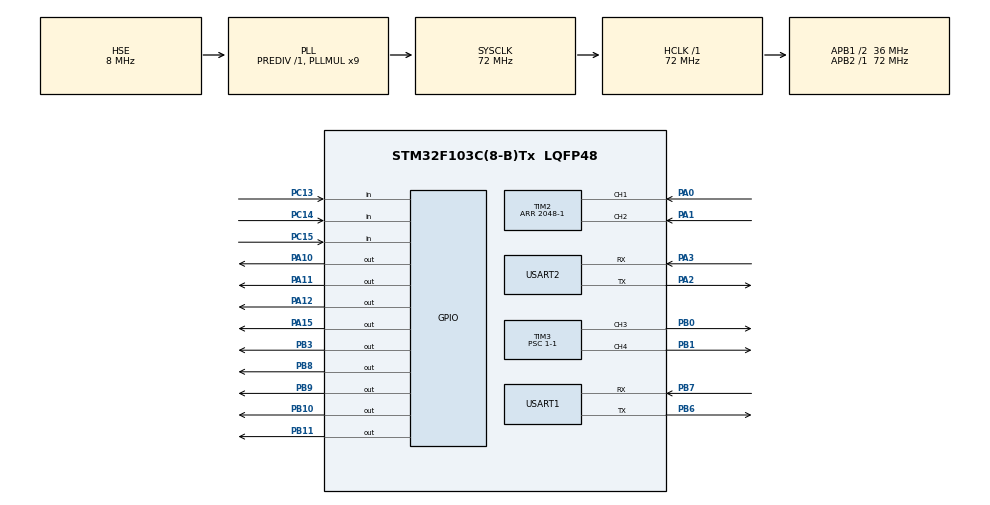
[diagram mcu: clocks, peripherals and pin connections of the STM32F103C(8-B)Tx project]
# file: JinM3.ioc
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Mcu.Family=STM32F1
Mcu.Name=STM32F103C(8-B)Tx
Mcu.Package=LQFP48
NVIC.PriorityGroup=NVIC_PRIORITYGROUP_4
NVIC.TIM3_IRQn=true\:0\:0\:false\:false\:true\:true
NVIC.TIM4_IRQn=true\:0\:0\:false\:false\:true\:true
NVIC.USART1_IRQn=true\:0\:0\:false\:false\:true\:true
NVIC.USART2_IRQn=true\:0\:0\:false\:false\:true\:true
PA0-WKUP.Signal=S_TIM2_CH1_ETR
PA1.Signal=S_TIM2_CH2
PA10.Signal=GPIO_Output
PA11.Signal=GPIO_Output
PA12.Signal=GPIO_Output
PA13.Mode=Serial_Wire
PA13.Signal=SYS_JTMS-SWDIO
PA14.Mode=Serial_Wire
PA14.Signal=SYS_JTCK-SWCLK
PA15.Signal=GPIO_Output
PA2.Mode=Asynchronous
PA2.Signal=USART2_TX
PA3.Mode=Asynchronous
PA3.Signal=USART2_RX
PB0.Signal=S_TIM3_CH3
PB1.Signal=S_TIM3_CH4
PB10.Signal=GPIO_Output
PB11.Signal=GPIO_Output
PB3.Signal=GPIO_Output
PB6.Mode=Asynchronous
PB6.Signal=USART1_TX
PB7.Mode=Asynchronous
PB7.Signal=USART1_RX
PB8.Signal=GPIO_Output
PB9.Signal=GPIO_Output
PC13-TAMPER-RTC.Signal=GPIO_Input
PC14-OSC32_IN.Signal=GPIO_Input
PC15-OSC32_OUT.Signal=GPIO_Input
PD0-OSC_IN.Mode=HSE-External-Oscillator
PD0-OSC_IN.Signal=RCC_OSC_IN
PD1-OSC_OUT.Mode=HSE-External-Oscillator
PD1-OSC_OUT.Signal=RCC_OSC_OUT
ProjectManager.HeapSize=0x200
ProjectManager.StackSize=0x400
ProjectManager.TargetToolchain=TrueSTUDIO
RCC.ADCPresc=RCC_ADCPCLK2_DIV6
RCC.AHBFreq_Value=72000000
RCC.APB1CLKDivider=RCC_HCLK_DIV2
RCC.APB1Freq_Value=36000000
RCC.APB1TimFreq_Value=72000000
RCC.APB2Freq_Value=72000000
RCC.APB2TimFreq_Value=72000000
RCC.DATA_CACHE_ENABLE=1
RCC.HCLKFreq_Value=72000000
RCC.INSTRUCTION_CACHE_ENABLE=1
RCC.PLLMUL=RCC_PLL_MUL9
RCC.PLLSourceVirtual=RCC_PLLSOURCE_HSE
RCC.PWR_Regulator_Voltage_Scale=PWR_REGULATOR_VOLTAGE_SCALE1
RCC.SYSCLKFreq_VALUE=72000000
RCC.SYSCLKSource=RCC_SYSCLKSOURCE_PLLCLK
RCC.USBFreq_Value=72000000
SH.S_TIM2_CH1_ETR.0=TIM2_CH1,Encoder_Interface
SH.S_TIM2_CH2.0=TIM2_CH2,Encoder_Interface
SH.S_TIM3_CH3.0=TIM3_CH3,PWM Generation3 CH3
SH.S_TIM3_CH4.0=TIM3_CH4,PWM Generation4 CH4
TIM2.Period=2048-1
TIM3.Channel-PWM\ Generation3\ CH3=TIM_CHANNEL_3
TIM3.Channel-PWM\ Generation4\ CH4=TIM_CHANNEL_4
TIM3.Period=2500-1
TIM3.Prescaler=1-1
TIM3.Pulse-PWM\ Generation3\ CH3=720
TIM3.Pulse-PWM\ Generation4\ CH4=360
TIM4.Period=36000-1
USART1.VirtualMode=VM_ASYNC
USART2.VirtualMode=VM_ASYNC
VP_TIM3_VS_ClockSourceINT.Mode=Internal
VP_TIM4_VS_ClockSourceINT.Mode=Internal
board=custom

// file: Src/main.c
/* USER CODE BEGIN Header */
/**
  ******************************************************************************
  * @file           : main.c
  * @brief          : Main program body
  ******************************************************************************
  ** This notice applies to any and all portions of this file
  * that are not between comment pairs USER CODE BEGIN and
  * USER CODE END. Other portions of this file, whether
  * inserted by the user or by software development tools
  * are owned by their respective copyright owners.
  *
  * COPYRIGHT(c) 2020 STMicroelectronics
  *
  * Redistribution and use in source and binary forms, with or without modification,
  * are permitted provided that the following conditions are met:
  *   1. Redistributions of source code must retain the above copyright notice,
  *      this list of conditions and the following disclaimer.
  *   2. Redistributions in binary form must reproduce the above copyright notice,
  *      this list of conditions and the following disclaimer in the documentation
  *      and/or other materials provided with the distribution.
  *   3. Neither the name of STMicroelectronics nor the names of its contributors
  *      may be used to endorse or promote products derived from this software
  *      without specific prior written permission.
  *
  * THIS SOFTWARE IS PROVIDED BY THE COPYRIGHT HOLDERS AND CONTRIBUTORS "AS IS"
  * AND ANY EXPRESS OR IMPLIED WARRANTIES, INCLUDING, BUT NOT LIMITED TO, THE
  * IMPLIED WARRANTIES OF MERCHANTABILITY AND FITNESS FOR A PARTICULAR PURPOSE ARE
  * DISCLAIMED. IN NO EVENT SHALL THE COPYRIGHT HOLDER OR CONTRIBUTORS BE LIABLE
  * FOR ANY DIRECT, INDIRECT, INCIDENTAL, SPECIAL, EXEMPLARY, OR CONSEQUENTIAL
  * DAMAGES (INCLUDING, BUT NOT LIMITED TO, PROCUREMENT OF SUBSTITUTE GOODS OR
  * SERVICES; LOSS OF USE, DATA, OR PROFITS; OR BUSINESS INTERRUPTION) HOWEVER
  * CAUSED AND ON ANY THEORY OF LIABILITY, WHETHER IN CONTRACT, STRICT LIABILITY,
  * OR TORT (INCLUDING NEGLIGENCE OR OTHERWISE) ARISING IN ANY WAY OUT OF THE USE
  * OF THIS SOFTWARE, EVEN IF ADVISED OF THE POSSIBILITY OF SUCH DAMAGE.
  *
  ******************************************************************************
  */
/* USER CODE END Header */

#include "main.h"
#include "tim.h"
#include "usart.h"
#include "gpio.h"

/* USER CODE BEGIN Includes */
#include "motor.h"
/* USER CODE END Includes */

/* USER CODE BEGIN PTD */
uint8_t rx2_data,
		rx1_data;
int8_t int8_tim7flag=1;

char g_char_ReciveG[25];
/* USER CODE END PTD */

/* USER CODE BEGIN PV */
//MX_USART3_UART_Init();
/* USER CODE END PV */

void SystemClock_Config(void);
/* USER CODE BEGIN PFP */
int _write(int file, char* p,int len)
{
	HAL_UART_Transmit(&huart1,p,len,10);
	return len;
}
/* USER CODE END PFP */

int main(void)
{

  /* MCU Configuration--------------------------------------------------------*/

  /* Reset of all peripherals, Initializes the Flash interface and the Systick. */
  HAL_Init();

  /* Configure the system clock */
  SystemClock_Config();

  /* Initialize all configured peripherals */
  MX_GPIO_Init();
  MX_USART1_UART_Init();
  MX_TIM4_Init();
  MX_USART2_UART_Init();
  MX_TIM3_Init();
  MX_TIM2_Init();
  /* USER CODE BEGIN 2 */

  HAL_UART_Receive_IT(&huart1, &rx1_data,1);
  HAL_UART_Receive_IT(&huart2, &rx2_data,1);
  HAL_TIM_Base_Start_IT(&htim4);
  HAL_TIM_Base_Start_IT(&htim3);
  HAL_TIM_PWM_Start(&htim3, TIM_CHANNEL_3);
  HAL_TIM_PWM_Start(&htim3, TIM_CHANNEL_4);
  HAL_TIM_Encoder_Start(&htim2,TIM_CHANNEL_1);
  /* USER CODE END 2 */

  /* Infinite loop */
  /* USER CODE BEGIN WHILE */

  uint8_t a = 'a';
  g_uint16_pwm_flag=0;
  InitMotor_R(&R_Motor);
  //__HAL_TIM_SET_COMPARE(&htim3,TIM_CHANNEL_3,(uint32_t)720);
  //HAL_GPIO_WritePin(GPIOB, GPIO_PIN_10, GPIO_PIN_SET);
  //			HAL_GPIO_WritePin(GPIOB, GPIO_PIN_11, GPIO_PIN_RESET);
  R_Motor.f_User_Velocity=0;
  while (1)
  {

    /* USER CODE END WHILE */

    /* USER CODE BEGIN 3 */
	  printf("kp:%4.2f,  kd:%4.2f, vel:%4.2f\n\r",R_Motor.f_Kp,R_Motor.f_Kd,R_Motor.f_User_Velocity);
	  HAL_Delay(10);
	  HAL_UART_Receive_IT(&huart1, &rx1_data,1);
  }
  /* USER CODE END 3 */
}

void SystemClock_Config(void)
{
  RCC_OscInitTypeDef RCC_OscInitStruct = {0};
  RCC_ClkInitTypeDef RCC_ClkInitStruct = {0};

  /**Initializes the CPU, AHB and APB busses clocks
  */
  RCC_OscInitStruct.OscillatorType = RCC_OSCILLATORTYPE_HSE;
  RCC_OscInitStruct.HSEState = RCC_HSE_ON;
  RCC_OscInitStruct.HSEPredivValue = RCC_HSE_PREDIV_DIV1;
  RCC_OscInitStruct.HSIState = RCC_HSI_ON;
  RCC_OscInitStruct.PLL.PLLState = RCC_PLL_ON;
  RCC_OscInitStruct.PLL.PLLSource = RCC_PLLSOURCE_HSE;
  RCC_OscInitStruct.PLL.PLLMUL = RCC_PLL_MUL9;
  if (HAL_RCC_OscConfig(&RCC_OscInitStruct) != HAL_OK)
  {
    Error_Handler();
  }
  /**Initializes the CPU, AHB and APB busses clocks
  */
  RCC_ClkInitStruct.ClockType = RCC_CLOCKTYPE_HCLK|RCC_CLOCKTYPE_SYSCLK
                              |RCC_CLOCKTYPE_PCLK1|RCC_CLOCKTYPE_PCLK2;
  RCC_ClkInitStruct.SYSCLKSource = RCC_SYSCLKSOURCE_PLLCLK;
  RCC_ClkInitStruct.AHBCLKDivider = RCC_SYSCLK_DIV1;
  RCC_ClkInitStruct.APB1CLKDivider = RCC_HCLK_DIV2;
  RCC_ClkInitStruct.APB2CLKDivider = RCC_HCLK_DIV1;

  if (HAL_RCC_ClockConfig(&RCC_ClkInitStruct, FLASH_LATENCY_2) != HAL_OK)
  {
    Error_Handler();
  }
}

/* USER CODE BEGIN 4 */
void HAL_UART_RxCpltCallback(UART_HandleTypeDef *huart)
{
	char receiver = 0;

	if(huart->Instance == USART2)
	{
			HAL_UART_Transmit(&huart1, &rx2_data, 1, 10);
			rx2_data=NULL;
			HAL_UART_Receive_IT(&huart2, &rx2_data,1);
	}

	if(huart->Instance == USART1)
		{
				switch(rx1_data)
				{
					case 'w':
						 R_Motor.f_User_Velocity+=100;break;
					case 's':
						R_Motor.f_User_Velocity-=100;break;

					case 'j':
						R_Motor.f_Kp-=0.1;break;
					case 'u':
						R_Motor.f_Kp+=0.1;break;
					case 'k':
						R_Motor.f_Kd-=0.1;break;
					case 'i':
						R_Motor.f_Kd+=0.1;break;
					case 'g':
						g_uint16_pwm_flag=1;break;
					case 'f':
						g_uint16_pwm_flag=0;break;
				}
				//HAL_UART_Transmit(&huart3, &rx3_data, 1, 10);

				if( R_Motor.f_User_Velocity>1500)
					R_Motor.f_User_Velocity=1500;
				if( R_Motor.f_User_Velocity<-1500)
					R_Motor.f_User_Velocity=-1500;
	//			if( L_Motor.f_User_Velocity>3000)
	//				L_Motor.f_User_Velocity=3000;
	//			if( L_Motor.f_User_Velocity<-3000)
	//				L_Motor.f_User_Velocity=-3000;

				rx1_data=NULL;
				HAL_UART_Receive_IT(&huart1, &rx1_data,1);

		}

}
/* USER CODE END 4 */

void Error_Handler(void)
{
}

/************************ (C) COPYRIGHT STMicroelectronics *****END OF FILE****/
